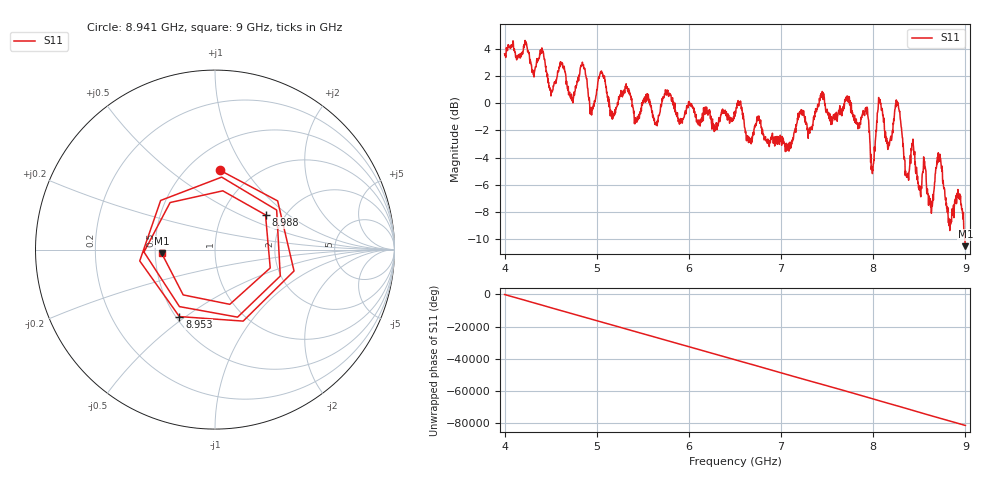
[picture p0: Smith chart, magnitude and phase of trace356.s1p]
! Created with skrf 1.8.0 (http://scikit-rf.org).
# Hz S RI R 50.0
!freq ReS11 ImS11
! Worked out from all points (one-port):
!   1601 points, 4 GHz to 9 GHz, reference 50 ohm
!   lowest |S11| = -10.5 dB at 9 GHz (marker M1), VSWR 1.85, Z = 27.1 - j1.22 ohm
!   |S11| at or under -10 dB: 8.993872 GHz to end of sweep
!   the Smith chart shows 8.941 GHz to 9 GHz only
!   S11 on the Smith chart (normalised r, x): 8.941 GHz: 0.70, +0.77; 8.953 GHz: 0.52, -0.47; 8.988 GHz: 1.60, +0.70; 9 GHz: 0.54, -0.02
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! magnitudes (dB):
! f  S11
! 4 GHz  3.6
! 4.406 GHz  4.1
! 4.506 GHz  0.8
! 4.625 GHz  2.8
! 4.722 GHz  0.5
! 4.847 GHz  2.9
! 4.947 GHz  -0.6
! 5.044 GHz  2.2
! 5.169 GHz  -0.6
! 5.25 GHz  0.5
! 5.875 GHz  -0.7
! 6.5 GHz  -1.0
! 7.125 GHz  -2.8
! 7.75 GHz  0.1
! 7.925 GHz  -0.3
! 7.994 GHz  -4.9
! 8.069 GHz  0.1
! 8.162 GHz  -3.3
! 8.262 GHz  -0.1
! 8.375 GHz  -5.2
! 8.428 GHz  -2.8
! 8.625 GHz  -7.4
! 8.716 GHz  -3.8
! 8.825 GHz  -8.8
! 8.941 GHz  -7.1
! 8.953 GHz  -7.5
! 8.988 GHz  -9.3
! 9 GHz  -10.5
